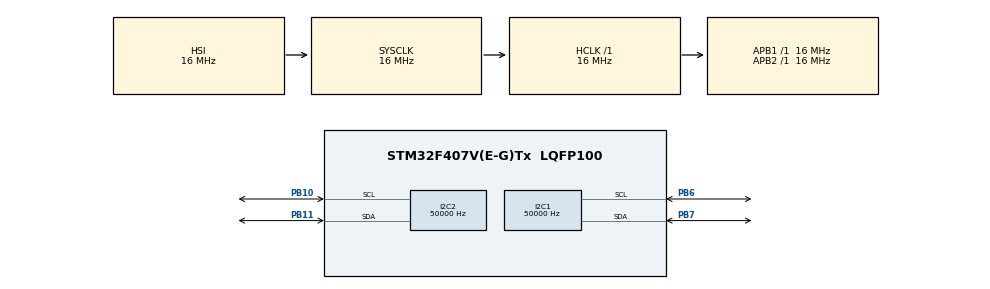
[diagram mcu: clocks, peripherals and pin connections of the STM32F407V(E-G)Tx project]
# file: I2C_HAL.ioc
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I2C1.ClockSpeed=50000
I2C2.ClockSpeed=50000
Mcu.Family=STM32F4
Mcu.Name=STM32F407V(E-G)Tx
Mcu.Package=LQFP100
NVIC.PriorityGroup=NVIC_PRIORITYGROUP_4
PA13.Mode=Serial_Wire
PA13.Signal=SYS_JTMS-SWDIO
PA14.Mode=Serial_Wire
PA14.Signal=SYS_JTCK-SWCLK
PB10.GPIO_Pu=GPIO_PULLUP
PB10.Mode=I2C
PB10.Signal=I2C2_SCL
PB11.GPIO_Pu=GPIO_PULLUP
PB11.Mode=I2C
PB11.Signal=I2C2_SDA
PB6.GPIO_Pu=GPIO_PULLUP
PB6.Mode=I2C
PB6.Signal=I2C1_SCL
PB7.GPIO_Pu=GPIO_PULLUP
PB7.Mode=I2C
PB7.Signal=I2C1_SDA
PH0-OSC_IN.Mode=HSE-External-Oscillator
PH0-OSC_IN.Signal=RCC_OSC_IN
PH1-OSC_OUT.Mode=HSE-External-Oscillator
PH1-OSC_OUT.Signal=RCC_OSC_OUT
ProjectManager.HeapSize=0x200
ProjectManager.StackSize=0x400
ProjectManager.TargetToolchain=STM32CubeIDE
RCC.AHBFreq_Value=16000000
RCC.APB1Freq_Value=16000000
RCC.APB2Freq_Value=16000000
RCC.CortexFreq_Value=16000000
RCC.HSE_VALUE=25000000
RCC.HSI_VALUE=16000000
RCC.LSE_VALUE=32768
RCC.SYSCLKFreq_VALUE=16000000
RCC.VCOOutputFreq_Value=192000000
board=custom

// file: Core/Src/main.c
/* USER CODE BEGIN Header */
/**
  ******************************************************************************
  * @file           : main.c
  * @brief          : Main program body
  ******************************************************************************
  * @attention
  *
  * Copyright (c) 2024 STMicroelectronics.
  * All rights reserved.
  *
  * This software is licensed under terms that can be found in the LICENSE file
  * in the root directory of this software component.
  * If no LICENSE file comes with this software, it is provided AS-IS.
  *
  ******************************************************************************
  */
/* USER CODE END Header */
#include "main.h"
#include "stdio.h"
/* USER CODE BEGIN Includes */
#include "i2c-lcd.h"
/* USER CODE END Includes */

/* USER CODE BEGIN PD */
#define DEV_ADDR 0b1000000
/* USER CODE END PD */

I2C_HandleTypeDef hi2c1;
I2C_HandleTypeDef hi2c2;

void SystemClock_Config(void);
static void MX_GPIO_Init(void);
static void MX_I2C1_Init(void);
static void MX_I2C2_Init(void);

/* USER CODE BEGIN 0 */
#define MPU6050_ADDR 		0XD0
#define SMPLRT_DIV_REG 		0X19
#define GYRO_CONFIG_REG 	0X1B
#define ACCEL_CONFIG_REG 	0X1C
#define ACCEL_XOUT_H_REG	0X3B
#define TEMP_OUT_H_REG 		0X41
#define GYRO_XOUT_H_REG 	0X43
#define PWR_MGMT_1_REG 		0X6B
#define WHO_AM_I_REG 		0X75

// accelerometer dimensions
uint16_t accel_x_raw;
uint16_t accel_y_raw;
uint16_t accel_z_raw;

// gyroscope dimensions
uint16_t gyro_x_raw;
uint16_t gyro_y_raw;
uint16_t gyro_z_raw;

float Ax, Ay, Az, Gx, Gy, Gz;

void MPU6050_Init(void){
	uint8_t check, data;
	HAL_I2C_Mem_Read(&hi2c2, MPU6050_ADDR, WHO_AM_I_REG,1,&check, 1, 1000);
	if(check == 104){  // if device is present
		// power management register should be written with 0's to wake up the sensor
		data = 0;
		HAL_I2C_Mem_Write(&hi2c2, MPU6050_ADDR,PWR_MGMT_1_REG,1, &data, 1,1000);
		// set data rate of 1khz by writing SMPLRT_DIV register
		data = 0x07;
		HAL_I2C_Mem_Write(&hi2c2, MPU6050_ADDR,SMPLRT_DIV_REG,1, &data, 1,1000);

		data = 0x00;
		HAL_I2C_Mem_Write(&hi2c2, MPU6050_ADDR,ACCEL_CONFIG_REG,1, &data, 1,1000);

		data = 0x00;
		HAL_I2C_Mem_Write(&hi2c2, MPU6050_ADDR,GYRO_CONFIG_REG,1, &data, 1,1000);
	}
}

void MPU6050_Read_Accel(void){
	uint8_t rec_data[6];
	HAL_I2C_Mem_Read(&hi2c2, MPU6050_ADDR,ACCEL_XOUT_H_REG,1,rec_data, 6,1000);
	accel_x_raw = (uint16_t)(rec_data[0] << 8 | rec_data[1]);
	accel_y_raw = (uint16_t)(rec_data[2] << 8 | rec_data[3]);
	accel_z_raw = (uint16_t)(rec_data[4] << 8 | rec_data[5]);
	Ax = accel_x_raw/16384.0;
	Ay = accel_y_raw/16384.0;
	Az = accel_z_raw/16384.0;
}

void MPU6050_Read_Gyro(void){
	uint8_t rec_data[6];
	HAL_I2C_Mem_Read(&hi2c2, MPU6050_ADDR,GYRO_XOUT_H_REG,1,rec_data, 6,1000);
	gyro_x_raw = (uint16_t)(rec_data[0] << 8 | rec_data[1]);
	gyro_y_raw = (uint16_t)(rec_data[2] << 8 | rec_data[3]);
	gyro_z_raw = (uint16_t)(rec_data[4] << 8 | rec_data[5]);
	Gx = gyro_x_raw/131.0;
	Gy = gyro_y_raw/131.0;
	Gz = gyro_z_raw/131.0;
}

/* USER CODE END 0 */

int main(void)
{
  /* USER CODE BEGIN 1 */
  char buf[4];

  /* USER CODE END 1 */

  /* MCU Configuration--------------------------------------------------------*/

  /* Reset of all peripherals, Initializes the Flash interface and the Systick. */
  HAL_Init();

  /* Configure the system clock */
  SystemClock_Config();

  /* Initialize all configured peripherals */
  MX_GPIO_Init();
  MX_I2C1_Init();
  MX_I2C2_Init();
  /* USER CODE BEGIN 2 */
  lcd_init();
  MPU6050_Init();
  //lcd_send_string("Initialized");
  //HAL_Delay(1000);
  //lcd_clear();
  //lcd_send_cmd(0x80|0x5a);
  //lcd_send_string("MPU6050");
  /* USER CODE END 2 */

  /* Infinite loop */
  while (1)
  {

    /* USER CODE BEGIN 3 */
	  MPU6050_Read_Accel();
	  MPU6050_Read_Gyro();

	  HAL_Delay (250);  // wait for a while
  }
  /* USER CODE END 3 */
}

void SystemClock_Config(void)
{
  RCC_OscInitTypeDef RCC_OscInitStruct = {0};
  RCC_ClkInitTypeDef RCC_ClkInitStruct = {0};

  /** Configure the main internal regulator output voltage
  */
  __HAL_RCC_PWR_CLK_ENABLE();
  __HAL_PWR_VOLTAGESCALING_CONFIG(PWR_REGULATOR_VOLTAGE_SCALE1);

  /** Initializes the RCC Oscillators according to the specified parameters
  * in the RCC_OscInitTypeDef structure.
  */
  RCC_OscInitStruct.OscillatorType = RCC_OSCILLATORTYPE_HSI;
  RCC_OscInitStruct.HSIState = RCC_HSI_ON;
  RCC_OscInitStruct.HSICalibrationValue = RCC_HSICALIBRATION_DEFAULT;
  RCC_OscInitStruct.PLL.PLLState = RCC_PLL_NONE;
  if (HAL_RCC_OscConfig(&RCC_OscInitStruct) != HAL_OK)
  {
    Error_Handler();
  }

  /** Initializes the CPU, AHB and APB buses clocks
  */
  RCC_ClkInitStruct.ClockType = RCC_CLOCKTYPE_HCLK|RCC_CLOCKTYPE_SYSCLK
                              |RCC_CLOCKTYPE_PCLK1|RCC_CLOCKTYPE_PCLK2;
  RCC_ClkInitStruct.SYSCLKSource = RCC_SYSCLKSOURCE_HSI;
  RCC_ClkInitStruct.AHBCLKDivider = RCC_SYSCLK_DIV1;
  RCC_ClkInitStruct.APB1CLKDivider = RCC_HCLK_DIV1;
  RCC_ClkInitStruct.APB2CLKDivider = RCC_HCLK_DIV1;

  if (HAL_RCC_ClockConfig(&RCC_ClkInitStruct, FLASH_LATENCY_0) != HAL_OK)
  {
    Error_Handler();
  }
}

static void MX_I2C1_Init(void)
{

  hi2c1.Instance = I2C1;
  hi2c1.Init.ClockSpeed = 50000;
  hi2c1.Init.DutyCycle = I2C_DUTYCYCLE_2;
  hi2c1.Init.OwnAddress1 = 0;
  hi2c1.Init.AddressingMode = I2C_ADDRESSINGMODE_7BIT;
  hi2c1.Init.DualAddressMode = I2C_DUALADDRESS_DISABLE;
  hi2c1.Init.OwnAddress2 = 0;
  hi2c1.Init.GeneralCallMode = I2C_GENERALCALL_DISABLE;
  hi2c1.Init.NoStretchMode = I2C_NOSTRETCH_DISABLE;
  if (HAL_I2C_Init(&hi2c1) != HAL_OK)
  {
    Error_Handler();
  }

}

static void MX_I2C2_Init(void)
{

  hi2c2.Instance = I2C2;
  hi2c2.Init.ClockSpeed = 50000;
  hi2c2.Init.DutyCycle = I2C_DUTYCYCLE_2;
  hi2c2.Init.OwnAddress1 = 0;
  hi2c2.Init.AddressingMode = I2C_ADDRESSINGMODE_7BIT;
  hi2c2.Init.DualAddressMode = I2C_DUALADDRESS_DISABLE;
  hi2c2.Init.OwnAddress2 = 0;
  hi2c2.Init.GeneralCallMode = I2C_GENERALCALL_DISABLE;
  hi2c2.Init.NoStretchMode = I2C_NOSTRETCH_DISABLE;
  if (HAL_I2C_Init(&hi2c2) != HAL_OK)
  {
    Error_Handler();
  }

}

static void MX_GPIO_Init(void)
{

  /* GPIO Ports Clock Enable */
  __HAL_RCC_GPIOH_CLK_ENABLE();
  __HAL_RCC_GPIOB_CLK_ENABLE();
  __HAL_RCC_GPIOA_CLK_ENABLE();

}

void Error_Handler(void)
{
  __disable_irq();
  while (1)
  {
  }
}
